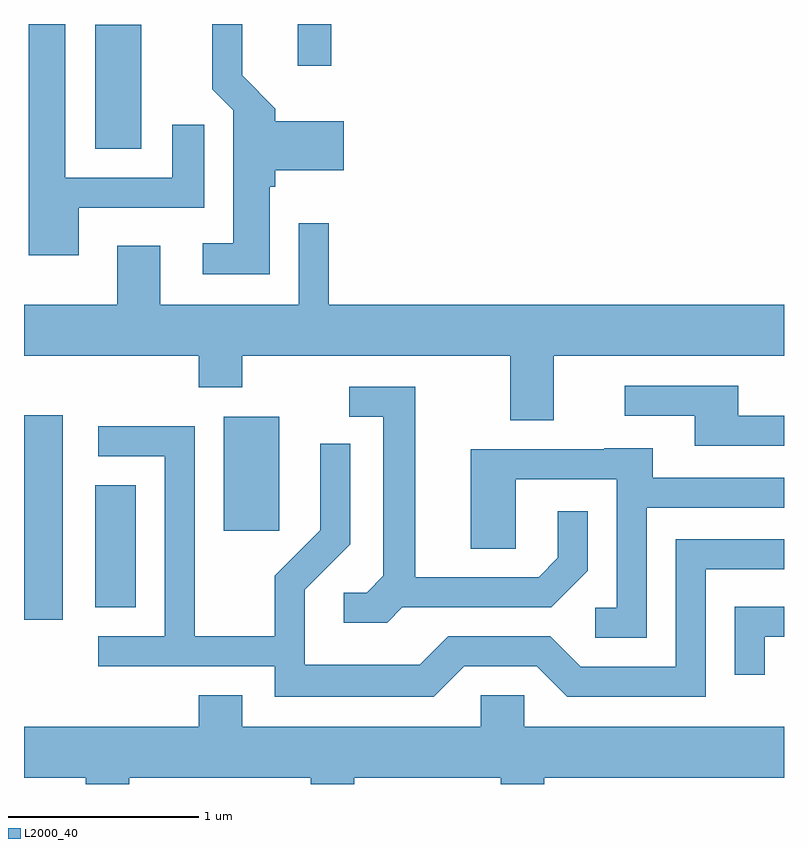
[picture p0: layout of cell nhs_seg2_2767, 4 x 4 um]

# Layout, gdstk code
import gdstk
lib = gdstk.Library(unit=1e-6, precision=1e-09)
def R(c, l, rs):  # rectangles x0, y0, x1, y1
    for r in rs: c.add(gdstk.rectangle(r[:2], r[2:], *l))
def P(c, l, *ps):  # polygons
    for p in ps: c.add(gdstk.Polygon(p, *l))
L2000_40 = (2000, 40)

nhs_seg2_2767 = lib.new_cell('nhs_seg2_2767')
R(nhs_seg2_2767, L2000_40, [(265.611,1084.666,265.814,1085.744), (265.986,1084.731,266.199,1085.374), (266.661,1085.136,266.954,1085.734), (265.986,1087.146,266.229,1087.799), (267.051,1087.581,267.229,1087.802)])
P(nhs_seg2_2767, L2000_40, [(265.899,1086.836),(266.559,1086.836),(266.559,1087.273),(266.391,1087.273),(266.391,1086.994),(265.829,1086.994),(265.829,1087.802),(265.636,1087.802),(265.636,1086.586),(265.899,1086.586)],
  [(266.904,1086.946),(266.934,1086.946),(266.934,1087.031),(267.294,1087.031),(267.294,1087.289),(266.934,1087.289),(266.934,1087.357),(266.759,1087.532),(266.759,1087.802),(266.601,1087.802),(266.601,1087.459),(266.711,1087.349),(266.711,1086.649),(266.553,1086.649),(266.553,1086.486),(266.904,1086.486)],
  [(268.399,1086.056),(269.611,1086.056),(269.611,1086.324),(267.214,1086.324),(267.214,1086.753),(267.056,1086.753),(267.056,1086.324),(266.329,1086.324),(266.329,1086.634),(266.101,1086.634),(266.101,1086.324),(265.611,1086.324),(265.611,1086.056),(266.531,1086.056),(266.531,1085.891),(266.759,1085.891),(266.759,1086.056),(268.171,1086.056),(268.171,1085.716),(268.399,1085.716)],
  [(269.611,1085.739),(269.369,1085.739),(269.369,1085.899),(268.773,1085.899),(268.773,1085.741),(269.141,1085.741),(269.141,1085.581),(269.611,1085.581)],
  [(267.602,1084.731),(268.387,1084.731),(268.579,1084.924),(268.579,1085.238),(268.421,1085.238),(268.421,1084.992),(268.319,1084.889),(267.669,1084.889),(267.669,1085.894),(267.323,1085.894),(267.323,1085.736),(267.501,1085.736),(267.501,1084.897),(267.414,1084.809),(267.293,1084.809),(267.293,1084.651),(267.522,1084.651)],
  [(267.927,1084.421),(268.309,1084.421),(268.469,1084.261),(269.199,1084.261),(269.199,1084.931),(269.611,1084.931),(269.611,1085.089),(269.041,1085.089),(269.041,1084.419),(268.542,1084.419),(268.382,1084.579),(267.844,1084.579),(267.694,1084.429),(267.089,1084.429),(267.089,1084.824),(267.329,1085.064),(267.329,1085.593),(267.171,1085.593),(267.171,1085.137),(266.931,1084.897),(266.931,1084.579),(266.509,1084.579),(266.509,1085.684),(266.003,1085.684),(266.003,1085.526),(266.351,1085.526),(266.351,1084.579),(266.003,1084.579),(266.003,1084.421),(266.931,1084.421),(266.931,1084.261),(267.767,1084.261)],
  [(268.889,1085.256),(269.611,1085.256),(269.611,1085.414),(268.919,1085.414),(268.919,1085.569),(268.665,1085.569),(268.665,1085.564),(267.961,1085.564),(267.961,1085.041),(268.199,1085.041),(268.199,1085.406),(268.731,1085.406),(268.731,1084.729),(268.618,1084.729),(268.618,1084.571),(268.889,1084.571)],
  [(269.509,1084.576),(269.611,1084.576),(269.611,1084.734),(269.351,1084.734),(269.351,1084.378),(269.509,1084.378)],
  [(266.164,1083.836),(267.121,1083.836),(267.121,1083.802),(267.349,1083.802),(267.349,1083.836),(268.121,1083.836),(268.121,1083.802),(268.349,1083.802),(268.349,1083.836),(269.611,1083.836),(269.611,1084.104),(268.244,1084.104),(268.244,1084.269),(268.016,1084.269),(268.016,1084.104),(266.759,1084.104),(266.759,1084.269),(266.531,1084.269),(266.531,1084.104),(265.611,1084.104),(265.611,1083.836),(265.936,1083.836),(265.936,1083.802),(266.164,1083.802)])

lib.write_gds('nhs_seg2_2767.gds')
